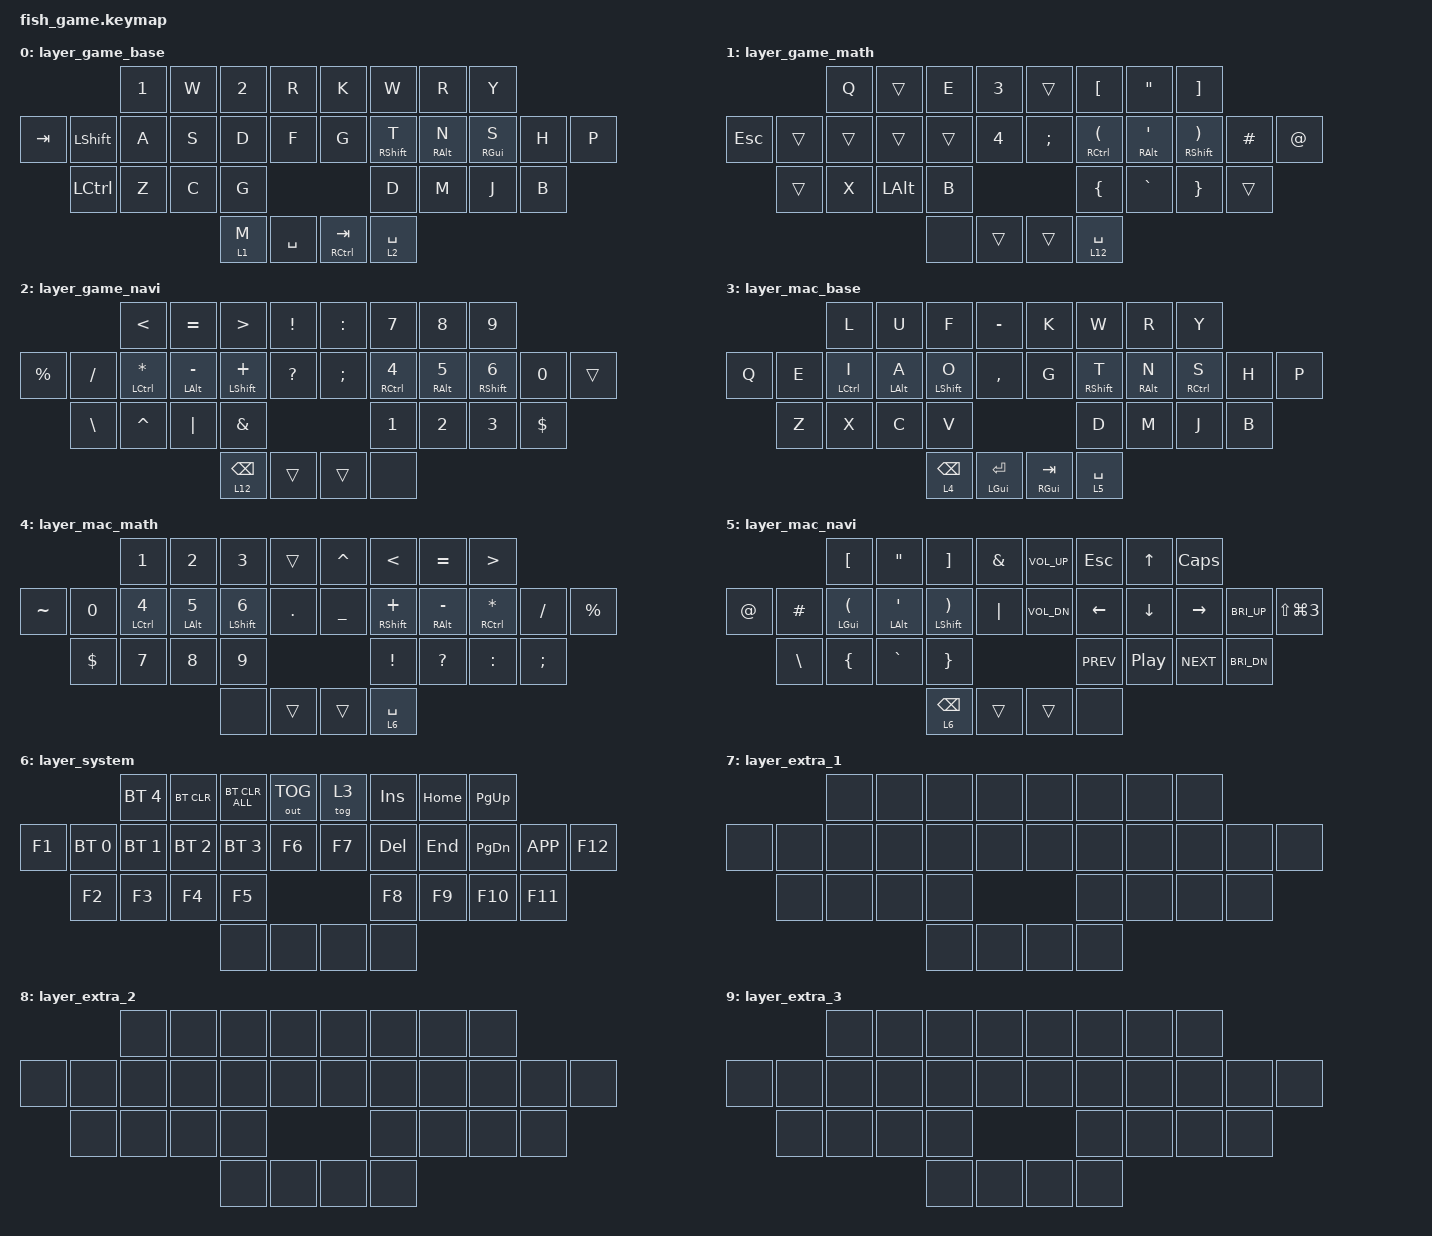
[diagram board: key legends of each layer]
// デフォルトキーマップ（大西配列、Win優先、ANSI方式）
// キーマップを更新する方法は https://o24.works/fish/guide を参照
// 視覚的に編集するには https://o24.works/fish/editor を参照


// 定義を呼んでくる
#include <behaviors.dtsi>
#include <dt-bindings/zmk/keys.h>
#include <dt-bindings/zmk/mouse.h>
#include <dt-bindings/zmk/bt.h>
#include <dt-bindings/zmk/outputs.h>
#include <dt-bindings/zmk/pointing.h>


// 特殊入力の挙動を調整できる

&mt {
    flavor = "tap-preferred";
    tapping-term-ms = <300>;
    quick-tap-ms = <200>;
    require-prior-idle-ms = <150>;
};

&lt {
    flavor = "balanced";
    tapping-term-ms = <075>;
    quick-tap-ms = <200>;
};

&sk {
};

&sl {
};

&caps_word {
};

&key_repeat {
};


/ {
    // 独自の入力を定義できる（上級者向け）

    behaviors {
    };

    macros {
    };

    conditional_layers {
    };


    // 複数キーの同時押しに特別の入力を設定できる
    // キー番号早見表：
    //       0  1  2  3     4  5  6  7
    // 8  9 10 11 12 13    14 15 16 17 18 19
    //   20 21 22 23          24 25 26 27
    //            28 29    30 31

    combos {
        compatible = "zmk,combos";
        timeout-ms = <100>;
        require-prior-idle-ms = <150>;

        combo_studio_unlock {
            key-positions = <20 21 22 23>;
            bindings = <&studio_unlock>;
        };
    };
    

    // キーに入力を割り当てる
    // 型（&...）は https://zmk.dev/docs/behaviors/... を参照
    // キーコードは https://zmk.dev/docs/codes/... を参照

    keymap {
        compatible = "zmk,keymap";

        layer_game_base {
            bindings = <
                        &kp N1      &kp W       &kp N2      &kp R               &kp K       &kp W       &kp R       &kp Y       
&kp TAB     &kp LSHFT   &kp A       &kp S       &kp D       &kp F               &kp G       &mt RSHFT T &mt RALT N  &mt RGUI S  &kp H       &kp P       
            &kp LCTRL   &kp Z       &kp C       &kp G                                       &kp D       &kp M       &kp J       &kp B       
                                                &lt 1 M     &kp SPACE           &mt RCTRL TAB &lt 2 SPACE 
            >;
        };

        layer_game_math {
            bindings = <
                        &kp Q       &trans      &kp E       &kp N3              &trans      &kp LBKT    &kp DQT     &kp RBKT      
&kp ESC     &trans      &trans      &trans      &trans      &kp N4              &kp SEMI    &mt RCTRL LPAR &mt RALT SQT &mt RSHFT RPAR &kp HASH &kp AT
            &trans      &kp X       &kp LALT    &kp B                                       &kp LBRC    &kp GRAVE   &kp RBRC   &trans    
                                                &none       &trans              &trans      &lt 12 SPACE 
            >;
        };

        layer_game_navi {
            bindings = <
                        &kp LT      &kp EQUAL   &kp GT      &kp EXCL            &kp COLON   &kp N7      &kp N8      &kp N9      
&kp PRCNT   &kp FSLH    &mt LCTRL STAR &mt LALT MINUS &mt LSHFT PLUS &kp QMARK  &kp SEMI    &mt RCTRL N4 &mt RALT N5  &mt RSHFT N6 &kp N0   &trans
            &kp BSLH    &kp CARET   &kp PIPE    &kp AMPS                                    &kp N1      &kp N2      &kp N3      &kp DLLR
                                                &lt 12 BSPC  &trans              &trans      &none       
            >;
        };

        layer_mac_base {
            bindings = <
                        &kp L       &kp U       &kp F       &kp MINUS           &kp K       &kp W       &kp R       &kp Y       
&kp Q       &kp E       &mt LCTRL I &mt LALT A  &mt LSHFT O &kp COMMA           &kp G       &mt RSHFT T &mt RALT N  &mt RCTRL S &kp H       &kp P       
            &kp Z       &kp X       &kp C       &kp V                                       &kp D       &kp M       &kp J       &kp B       
                                                &lt 4 BSPC  &mt LGUI RET        &mt RGUI TAB &lt 5 SPACE 
            >;
        };

        layer_mac_math {
            bindings = <
                        &kp N1      &kp N2      &kp N3      &trans              &kp CARET   &kp LT      &kp EQUAL   &kp GT      
&kp TILDE   &kp N0      &mt LCTRL N4 &mt LALT N5 &mt LSHFT N6 &kp DOT           &kp UNDER   &mt RSHFT PLUS &mt RALT MINUS &mt RCTRL STAR &kp FSLH &kp PRCNT 
            &kp DLLR    &kp N7      &kp N8      &kp N9                                      &kp EXCL    &kp QMARK   &kp COLON   &kp SEMI    
                                                &none       &trans              &trans      &lt 6 SPACE 
            >;
        };

        layer_mac_navi {
            bindings = <
                        &kp LBKT    &kp DQT     &kp RBKT    &kp AMPS            &kp C_VOL_UP &kp ESC    &kp UP      &kp CAPS    
&kp AT      &kp HASH    &mt LGUI LPAR &mt LALT SQT &mt LSHFT RPAR &kp PIPE      &kp C_VOL_DN &kp LEFT   &kp DOWN    &kp RIGHT   &kp C_BRI_UP &kp LS(LG(N3)) 
            &kp BSLH    &kp LBRC    &kp GRAVE   &kp RBRC                                    &kp C_PREV  &kp C_PP    &kp C_NEXT  &kp C_BRI_DN 
                                                &lt 6 BSPC  &trans              &trans      &none       
            >;
        };

        layer_system {
            bindings = <
                        &bt BT_SEL 4 &bt BT_CLR &bt BT_CLR_ALL &out OUT_TOG     &tog 3      &kp INS     &kp HOME    &kp PG_UP   
&kp F1      &bt BT_SEL 0 &bt BT_SEL 1 &bt BT_SEL 2 &bt BT_SEL 3 &kp F6          &kp F7      &kp DEL     &kp END     &kp PG_DN   &kp K_APP   &kp F12     
            &kp F2      &kp F3      &kp F4      &kp F5                                      &kp F8      &kp F9      &kp F10     &kp F11     
                                                &none       &none               &none       &none       
            >;
        };

        layer_extra_1 {
            bindings = <
                        &none       &none       &none       &none               &none       &none       &none       &none
&none       &none       &none       &none       &none       &none               &none       &none       &none       &none       &none       &none 
            &none       &none       &none       &none                                       &none       &none       &none       &none
                                                &none       &none               &none       &none       
            >;
        };

        layer_extra_2 {
            bindings = <
                        &none       &none       &none       &none               &none       &none       &none       &none
&none       &none       &none       &none       &none       &none               &none       &none       &none       &none       &none       &none 
            &none       &none       &none       &none                                       &none       &none       &none       &none
                                                &none       &none               &none       &none       
            >;
        };

        layer_extra_3 {
            bindings = <
                        &none       &none       &none       &none               &none       &none       &none       &none
&none       &none       &none       &none       &none       &none               &none       &none       &none       &none       &none       &none 
            &none       &none       &none       &none                                       &none       &none       &none       &none
                                                &none       &none               &none       &none       
            >;
        };
    };
};
